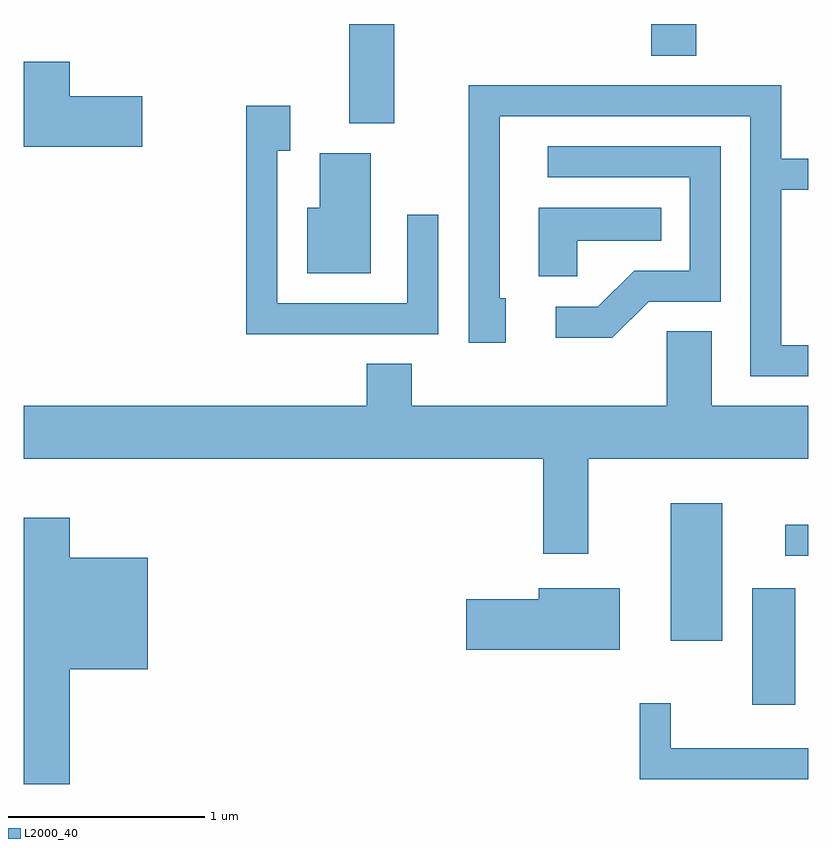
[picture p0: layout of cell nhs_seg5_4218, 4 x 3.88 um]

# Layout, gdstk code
import gdstk
lib = gdstk.Library(unit=1e-6, precision=1e-09)
def R(c, l, rs):  # rectangles x0, y0, x1, y1
    for r in rs: c.add(gdstk.rectangle(r[:2], r[2:], *l))
def P(c, l, *ps):  # polygons
    for p in ps: c.add(gdstk.Polygon(p, *l))
L2000_40 = (2000, 40)

nhs_seg5_4218 = lib.new_cell('nhs_seg5_4218')
R(nhs_seg5_4218, L2000_40, [(313.326,1506.601,313.544,1507.194), (312.911,1506.926,313.174,1507.629), (313.493,1507.361,313.611,1507.519), (311.271,1509.566,311.499,1510.072), (312.811,1509.911,313.039,1510.072)])
P(nhs_seg5_4218, L2000_40, [(310.214,1509.704),(309.844,1509.704),(309.844,1509.879),(309.611,1509.879),(309.611,1509.446),(310.214,1509.446)],
  [(313.611,1508.434),(313.474,1508.434),(313.474,1509.226),(313.611,1509.226),(313.611,1509.384),(313.474,1509.384),(313.474,1509.759),(311.881,1509.759),(311.881,1508.446),(312.069,1508.446),(312.069,1508.674),(312.039,1508.674),(312.039,1509.601),(313.316,1509.601),(313.316,1508.276),(313.611,1508.276)],
  [(311.724,1509.098),(311.566,1509.098),(311.566,1508.649),(310.904,1508.649),(310.904,1509.426),(310.969,1509.426),(310.969,1509.654),(310.746,1509.654),(310.746,1508.491),(311.724,1508.491)],
  [(312.797,1508.656),(313.164,1508.656),(313.164,1509.449),(312.283,1509.449),(312.283,1509.291),(313.006,1509.291),(313.006,1508.814),(312.724,1508.814),(312.539,1508.629),(312.323,1508.629),(312.323,1508.471),(312.612,1508.471)],
  [(311.379,1509.414),(311.121,1509.414),(311.121,1509.134),(311.056,1509.134),(311.056,1508.801),(311.379,1508.801)],
  [(312.434,1508.966),(312.863,1508.966),(312.863,1509.134),(312.236,1509.134),(312.236,1508.786),(312.434,1508.786)],
  [(311.361,1508.339),(311.361,1508.124),(309.611,1508.124),(309.611,1507.856),(312.261,1507.856),(312.261,1507.371),(312.489,1507.371),(312.489,1507.856),(313.611,1507.856),(313.611,1508.124),(313.119,1508.124),(313.119,1508.504),(312.891,1508.504),(312.891,1508.124),(311.589,1508.124),(311.589,1508.339)],
  [(309.844,1506.781),(310.244,1506.781),(310.244,1507.349),(309.844,1507.349),(309.844,1507.554),(309.611,1507.554),(309.611,1506.196),(309.844,1506.196)],
  [(312.649,1507.194),(312.236,1507.194),(312.236,1507.139),(311.866,1507.139),(311.866,1506.881),(312.649,1506.881)],
  [(313.611,1506.379),(312.909,1506.379),(312.909,1506.608),(312.751,1506.608),(312.751,1506.221),(313.611,1506.221)])

lib.write_gds('nhs_seg5_4218.gds')
